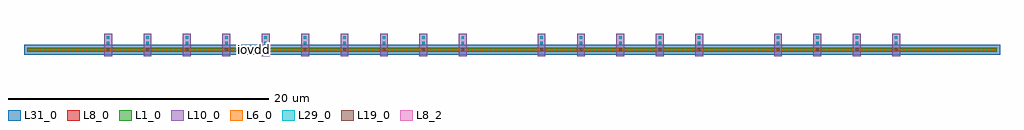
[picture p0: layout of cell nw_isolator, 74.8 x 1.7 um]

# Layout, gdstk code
import gdstk
lib = gdstk.Library(unit=1e-6, precision=1e-09)
def R(c, l, rs):  # rectangles x0, y0, x1, y1
    for r in rs: c.add(gdstk.rectangle(r[:2], r[2:], *l))
def A(c, l, x, y, w, h, nx, ny, dx, dy):  # array of equal rectangles
    R(c, l, [(x+i*dx, y+j*dy, x+i*dx+w, y+j*dy+h) for i in range(nx) for j in range(ny)])
L1_0 = (1, 0)
L6_0 = (6, 0)
L8_0 = (8, 0)
L8_2 = (8, 2)
L10_0 = (10, 0)
L19_0 = (19, 0)
L29_0 = (29, 0)
L31_0 = (31, 0)

nw_isolator = lib.new_cell('nw_isolator')
R(nw_isolator, L1_0, [(2.84,84.79,77.16,85.09)])
A(nw_isolator, L6_0, 3.02, 84.86, 0.16, 0.16, 206, 1, 0.36, 0)
R(nw_isolator, L8_0, [(2.84,84.79,77.16,85.09)])
R(nw_isolator, L8_2, [(20,84.79,20.5,85.09)])
A(nw_isolator, L10_0, 8.745, 84.45, 0.6, 1.7, 10, 1, 3.02, 0)
A(nw_isolator, L10_0, 41.965, 84.45, 0.6, 1.7, 5, 1, 3.02, 0)
A(nw_isolator, L10_0, 60.085, 84.45, 0.6, 1.7, 4, 1, 3.02, 0)
A(nw_isolator, L19_0, 8.95, 84.845, 0.19, 0.19, 10, 1, 3.02, 0)
A(nw_isolator, L19_0, 42.17, 84.845, 0.19, 0.19, 5, 1, 3.02, 0)
A(nw_isolator, L19_0, 60.29, 84.845, 0.19, 0.19, 4, 1, 3.02, 0)
A(nw_isolator, L29_0, 8.95, 85.355, 0.19, 0.19, 10, 2, 3.02, 0.41)
A(nw_isolator, L29_0, 42.17, 85.355, 0.19, 0.19, 5, 2, 3.02, 0.41)
A(nw_isolator, L29_0, 60.29, 85.355, 0.19, 0.19, 4, 2, 3.02, 0.41)
R(nw_isolator, L31_0, [(2.6,84.55,77.4,85.33)])
nw_isolator.add(gdstk.Label('iovdd', (20.25,84.94), layer=8, texttype=25))

lib.write_gds('nw_isolator.gds')
